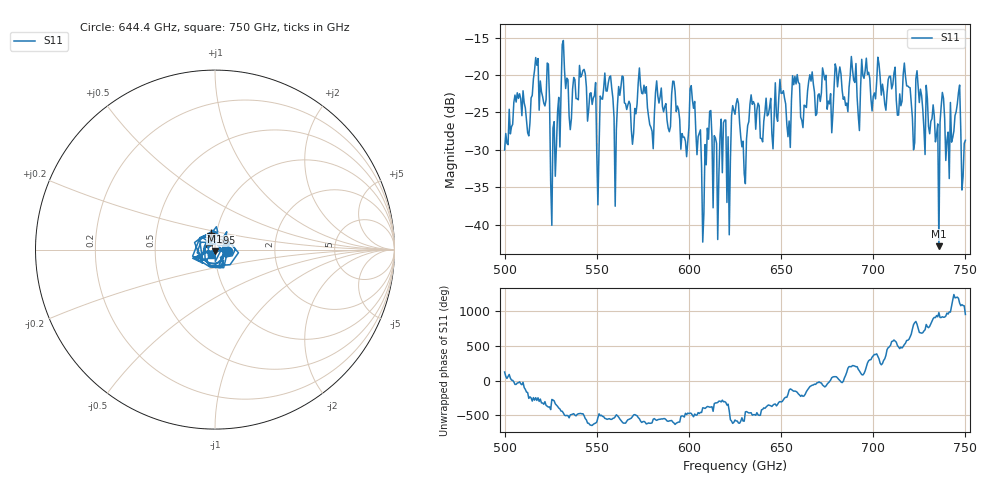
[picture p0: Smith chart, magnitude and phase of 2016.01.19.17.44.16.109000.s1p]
!Created with skrf (http://scikit-rf.org).
# GHz S RI R 50.0
!freq ReS11 ImS11
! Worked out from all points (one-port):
!   401 points, 500 GHz to 750 GHz, reference 50 ohm
!   lowest |S11| = -42.9 dB at 735.6 GHz (marker M1), VSWR 1.01, Z = 49.9 - j0.713 ohm
!   |S11| at or under -10 dB: start of sweep to end of sweep
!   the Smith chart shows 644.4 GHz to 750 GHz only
!   S11 on the Smith chart (normalised r, x): 644.4 GHz: 1.15, -0.01; 695 GHz: 0.94, +0.18; 750 GHz: 0.96, -0.06
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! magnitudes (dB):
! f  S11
! 500 GHz  -30.0
! 513.1 GHz  -28.1
! 516.9 GHz  -17.6
! 523.1 GHz  -18.4
! 526.2 GHz  -27.1
! 531.2 GHz  -15.9
! 542.5 GHz  -19.4
! 551.2 GHz  -29.6
! 553.1 GHz  -23.2
! 560 GHz  -37.5
! 562.5 GHz  -22.7
! 593.8 GHz  -24.1
! 598.1 GHz  -28.9
! 601.9 GHz  -23.3
! 608.1 GHz  -38.5
! 611.2 GHz  -24.8
! 621.9 GHz  -41.4
! 625 GHz  -25.2
! 629.4 GHz  -28.8
! 634.4 GHz  -23.9
! 644.4 GHz  -23.1
! 656.2 GHz  -20.1
! 687.5 GHz  -20.1
! 695 GHz  -20.4
! 718.8 GHz  -21.5
! 735.6 GHz  -42.9
! 745.6 GHz  -23.8
! 750 GHz  -28.7
